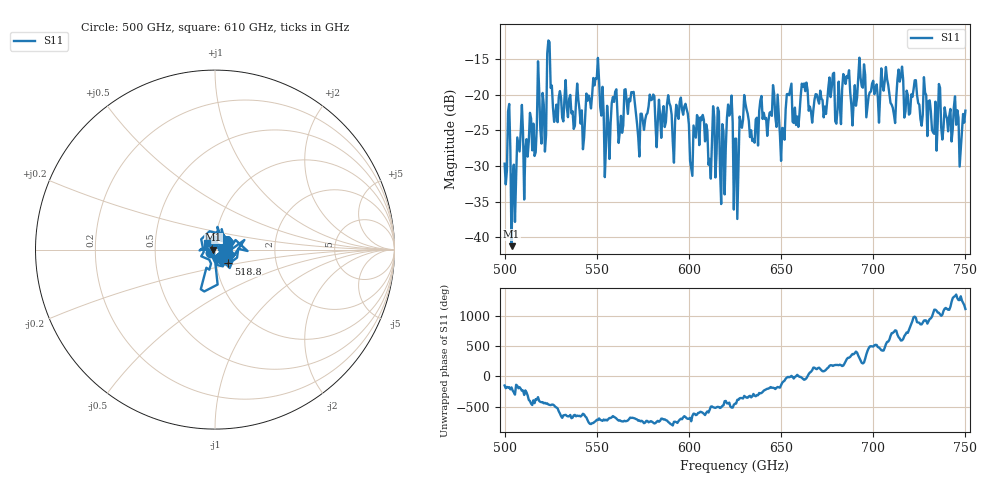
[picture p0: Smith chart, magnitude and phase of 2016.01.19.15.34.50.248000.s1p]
!Created with skrf (http://scikit-rf.org).
# GHz S RI R 50.0
!freq ReS11 ImS11
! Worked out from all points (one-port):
!   401 points, 500 GHz to 750 GHz, reference 50 ohm
!   lowest |S11| = -41.2 dB at 503.8 GHz (marker M1), VSWR 1.02, Z = 49.1 + j0.0171 ohm
!   |S11| at or under -10 dB: start of sweep to end of sweep
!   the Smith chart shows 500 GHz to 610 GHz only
!   S11 on the Smith chart (normalised r, x): 500 GHz: 0.94, -0.03; 518.8 GHz: 1.15, -0.18; 610 GHz: 0.91, +0.06
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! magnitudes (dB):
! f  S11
! 500 GHz  -29.7
! 503.8 GHz  -41.2
! 505 GHz  -29.8
! 508.1 GHz  -27.9
! 511.9 GHz  -26.2
! 518.8 GHz  -19.3
! 521.2 GHz  -21.4
! 524.4 GHz  -12.6
! 527.5 GHz  -22.7
! 531.2 GHz  -23.2
! 542.5 GHz  -27.6
! 549.4 GHz  -17.7
! 555.6 GHz  -21.5
! 559.4 GHz  -21.0
! 562.5 GHz  -25.2
! 593.8 GHz  -22.8
! 610 GHz  -25.0
! 618.1 GHz  -24.1
! 621.9 GHz  -22.9
! 625 GHz  -26.2
! 630.6 GHz  -21.2
! 634.4 GHz  -26.5
! 646.9 GHz  -23.1
! 650.6 GHz  -24.6
! 656.2 GHz  -23.8
! 687.5 GHz  -19.6
! 718.8 GHz  -20.0
! 750 GHz  -22.2
